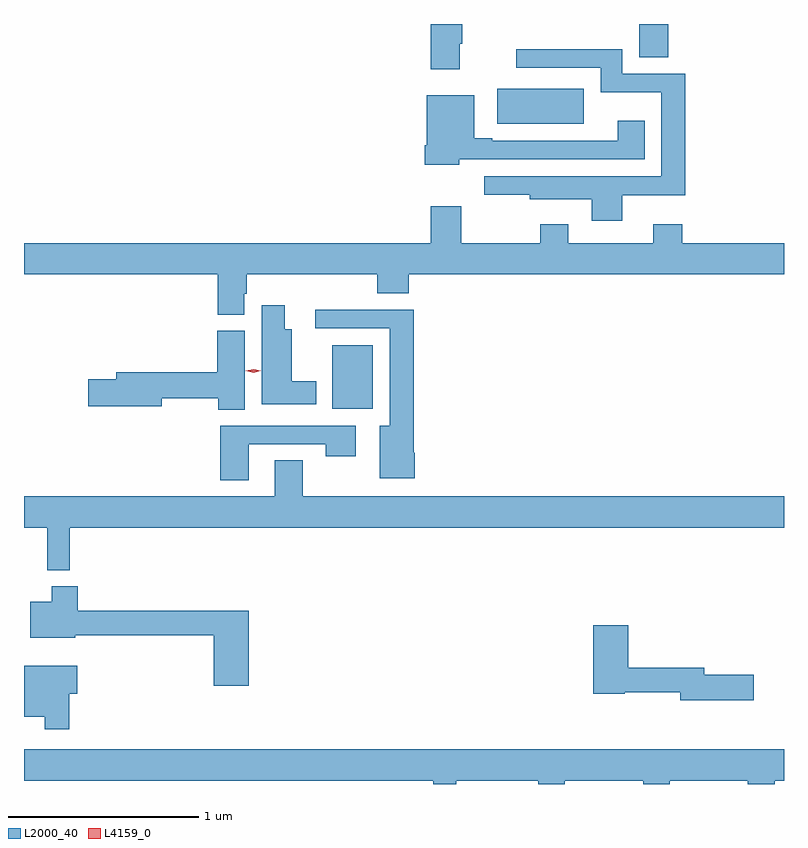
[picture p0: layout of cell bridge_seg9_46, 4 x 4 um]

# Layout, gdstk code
import gdstk
lib = gdstk.Library(unit=1e-6, precision=1e-09)
def R(c, l, rs):  # rectangles x0, y0, x1, y1
    for r in rs: c.add(gdstk.rectangle(r[:2], r[2:], *l))
def P(c, l, *ps):  # polygons
    for p in ps: c.add(gdstk.Polygon(p, *l))
L2000_40 = (2000, 40)
L4159_0 = (4159, 0)

bridge_seg9_46 = lib.new_cell('bridge_seg9_46')
R(bridge_seg9_46, L2000_40, [(914.318,1201.04,914.53,1201.375), (915.932,1202.89,916.085,1203.066)])
P(bridge_seg9_46, L2000_40, [(914.989,1202.963),(915.002,1202.963),(915.002,1203.066),(914.837,1203.066),(914.837,1202.829),(914.989,1202.829)],
  [(915.844,1202.165),(916.175,1202.165),(916.175,1202.805),(915.844,1202.805),(915.844,1202.932),(915.285,1202.932),(915.285,1202.835),(915.731,1202.835),(915.731,1202.708),(916.049,1202.708),(916.049,1202.266),(915.457,1202.266),(915.457,1202.265),(915.117,1202.265),(915.117,1202.167),(915.357,1202.167),(915.357,1202.144),(915.683,1202.144),(915.683,1202.03),(915.844,1202.03)],
  [(915.64,1202.725),(915.186,1202.725),(915.186,1202.541),(915.289,1202.541),(915.289,1202.54),(915.64,1202.54)],
  [(914.987,1202.355),(915.961,1202.355),(915.961,1202.557),(915.821,1202.557),(915.821,1202.451),(915.16,1202.451),(915.16,1202.465),(915.064,1202.465),(915.064,1202.692),(914.816,1202.692),(914.816,1202.428),(914.804,1202.428),(914.804,1202.324),(914.987,1202.324)],
  [(913.855,1201.647),(913.868,1201.647),(913.868,1201.748),(914.555,1201.748),(914.555,1201.649),(914.72,1201.649),(914.72,1201.748),(916.695,1201.748),(916.695,1201.912),(916.16,1201.912),(916.16,1202.011),(916.007,1202.011),(916.007,1201.912),(915.559,1201.912),(915.559,1202.011),(915.412,1202.011),(915.412,1201.912),(914.997,1201.912),(914.997,1202.107),(914.837,1202.107),(914.837,1201.912),(912.695,1201.912),(912.695,1201.748),(913.715,1201.748),(913.715,1201.537),(913.855,1201.537)],
  [(914.233,1201.186),(914.104,1201.186),(914.104,1201.459),(914.068,1201.459),(914.068,1201.585),(913.946,1201.585),(913.946,1201.064),(914.233,1201.064)],
  [(914.752,1200.81),(914.747,1200.81),(914.747,1201.562),(914.229,1201.562),(914.229,1201.464),(914.621,1201.464),(914.621,1200.952),(914.567,1200.952),(914.567,1200.674),(914.752,1200.674)],
  [(913.858,1201.452),(913.712,1201.452),(913.712,1201.232),(913.181,1201.232),(913.181,1201.196),(913.032,1201.196),(913.032,1201.054),(913.42,1201.054),(913.42,1201.096),(913.717,1201.096),(913.717,1201.036),(913.858,1201.036)],
  [(913.879,1200.855),(914.284,1200.855),(914.284,1200.792),(914.44,1200.792),(914.44,1200.951),(913.727,1200.951),(913.727,1200.666),(913.879,1200.666)],
  [(912.935,1200.416),(916.695,1200.416),(916.695,1200.58),(914.163,1200.58),(914.163,1200.77),(914.015,1200.77),(914.015,1200.58),(912.695,1200.58),(912.695,1200.416),(912.818,1200.416),(912.818,1200.191),(912.935,1200.191)],
  [(913.877,1199.977),(912.977,1199.977),(912.977,1200.106),(912.842,1200.106),(912.842,1200.025),(912.728,1200.025),(912.728,1199.837),(912.964,1199.837),(912.964,1199.848),(913.694,1199.848),(913.694,1199.583),(913.877,1199.583)],
  [(916.537,1199.642),(916.276,1199.642),(916.276,1199.678),(915.875,1199.678),(915.875,1199.902),(915.692,1199.902),(915.692,1199.542),(915.858,1199.542),(915.858,1199.55),(916.148,1199.55),(916.148,1199.507),(916.537,1199.507)],
  [(912.932,1199.542),(912.976,1199.542),(912.976,1199.689),(912.695,1199.689),(912.695,1199.42),(912.804,1199.42),(912.804,1199.355),(912.932,1199.355)],
  [(914.971,1199.084),(915.401,1199.084),(915.401,1199.066),(915.541,1199.066),(915.541,1199.084),(915.953,1199.084),(915.953,1199.066),(916.093,1199.066),(916.093,1199.084),(916.505,1199.084),(916.505,1199.066),(916.645,1199.066),(916.645,1199.084),(916.695,1199.084),(916.695,1199.248),(912.695,1199.248),(912.695,1199.084),(914.85,1199.084),(914.85,1199.066),(914.971,1199.066)])
P(bridge_seg9_46, L4159_0, [(913.903,1201.23),(913.863,1201.24),(913.863,1201.24),(913.863,1201.24),(913.903,1201.25),(913.942,1201.241),(913.942,1201.24),(913.942,1201.24)])

lib.write_gds('bridge_seg9_46.gds')
